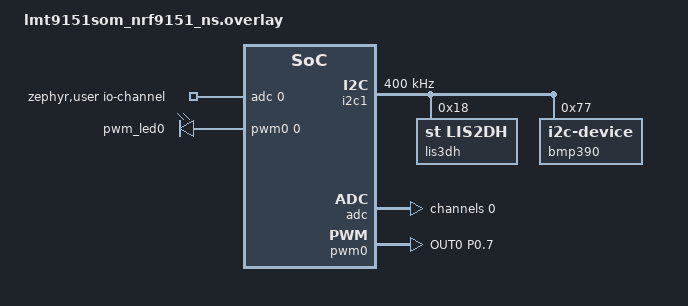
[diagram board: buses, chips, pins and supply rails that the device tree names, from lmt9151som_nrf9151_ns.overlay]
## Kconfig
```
#
# Copyright (c) 2020 Nordic Semiconductor ASA
#
# SPDX-License-Identifier: LicenseRef-Nordic-5-Clause
#

config THREAD_STACK_SIZE_512
    int "Thread stack size"
    default 512

config THREAD_STACK_SIZE_1024
    int "Thread stack size"
    default 1024

config THREAD_STACK_SIZE_2048
    int "Thread stack size"
    default 2048

config THREAD_STACK_SIZE_4096
    int "Thread stack size"
    default 4096

menu "Zephyr Kernel"
source "Kconfig.zephyr"
endmenu
```

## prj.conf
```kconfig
#
# Project configuration for Zephyr RTOS firmware
#
# This file lists all the features and settings enabled in the firmware.
# Each CONFIG_ option turns on or customizes a specific feature (such as sensors, power management, or communication).
# Lines starting with # are comments and are ignored by the build system.
#
# For example:
#   CONFIG_ADC=y      # Enable analog-to-digital converter (for reading analog sensors)
#   CONFIG_PWM=y      # Enable pulse-width modulation (for controlling outputs like LEDs)
#
# You can change these options to enable or disable features as needed.
#

# Enable SDK
CONFIG_LMTSDK=y

# General config
CONFIG_MAIN_STACK_SIZE=2048

## Power management
CONFIG_PM_DEVICE=y

# WDT
CONFIG_WATCHDOG=y
CONFIG_WDT_DISABLE_AT_BOOT=y

# Firmware version string
CONFIG_MCUBOOT_IMGTOOL_SIGN_VERSION="0.1.0"

CONFIG_ADC=y

CONFIG_PWM=y
CONFIG_LED=y
CONFIG_LED_PWM=y
CONFIG_I2C=y
# Enable Zephyr sensor API
CONFIG_SENSOR=y
# LIS3DH and LIS2DH use the same driver
CONFIG_LIS2DH=y
# Enable setting output data rate and set it to 1344Hz (normal mode)
CONFIG_LIS2DH_ODR_9_NORMAL=y
# Enable setting full scale to ±16g
CONFIG_LIS2DH_ACCEL_RANGE_16G=y
```

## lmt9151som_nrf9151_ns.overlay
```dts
&i2c1 {
	status = "okay";
	clock-frequency = <I2C_BITRATE_FAST>;

	lis3dh: lis3dh@18 {
		status = "okay";
		compatible = "st,lis2dh";
		reg = <0x18>;
	};

	bmp390: bmp390@77 {
	compatible = "i2c-device";
	status = "okay";
	reg = <0x77>;
	};
};


// Define ADC io channels
/ {
	zephyr,user {
		io-channels = <&adc 0>;
	};
	
	aliases {
		pwm-led0 = &pwm_led0;
	};
	
	pwmleds {
		compatible = "pwm-leds";
		pwm_led0: pwm_led_0 {
			pwms = <&pwm0 0 PWM_MSEC(20) PWM_POLARITY_NORMAL>;
		};
	};
};

&adc {
	#address-cells = <1>;
	#size-cells = <0>;
    status = "okay";
	channel@0 {
		reg = <0>;
		zephyr,gain = "ADC_GAIN_1_6";
		zephyr,reference = "ADC_REF_INTERNAL";
		zephyr,acquisition-time = <ADC_ACQ_TIME_DEFAULT>;
		zephyr,input-positive = <NRF_SAADC_AIN0>; /* P0.13 */
		zephyr,resolution = <12>; //0-4095
	};
};

&pwm0 {
	status = "okay";
	pinctrl-0 = <&pwm0_default>;
	pinctrl-names = "default";
    pinctrl-1 = <&pwm0_sleep>;
	pinctrl-names = "default", "sleep";
};

&pinctrl {
	pwm0_default: pwm0_default {
		group1 {
			psels = <NRF_PSEL(PWM_OUT0, 0, 7)>;
		};
	};
	pwm0_sleep: pwm0_sleep {
		group1 {
			psels = <NRF_PSEL(PWM_OUT0, 0, 7)>;
			low-power-enable;
		};
	};
};
```

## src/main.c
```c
/**
 * @file main.c
 * @brief Main application file for LMT SDK sample
 *
 * This file contains the main logic for reading sensor data and sending data to a server.
 *
 * Key steps and calculations are explained in comments.
 */

#include "adc_pwm.h"         // For reading potentiometer and controlling PWM
#include "app_status_bits.h" // For tracking system startup status
#include "bmp.h"             // For reading pressure and temperature from BMP390 sensor
#include "lis3dh.h"          // For reading acceleration from LIS3DH sensor
#include "lmt_sdk_app.h"     // Main application header (includes core SDK and command handler)

// Thread priorities: lower number = higher priority
#define PRIORITY_LIS3DH  1 // High priority for accelerometer task
#define PRIORITY_ADC_PWM 6 // Lower priority for ADC/PWM task

// Indices for storing sensor data in the Data array
#define BRIGHTNESS_INDEX   0 // Potentiometer (knob) position
#define TEMPERATURE_INDEX  1 // Temperature from BMP390
#define PRESSURE_INDEX     2 // Pressure from BMP390
#define ACCELARATION_INDEX 3 // Maximum acceleration from LIS3DH

#define DATA_READ_PERIOD 300 // Data read period in seconds (5 minutes)

// Define stack memory for the threads (required by Zephyr)
K_THREAD_STACK_DEFINE(lis3dh_stack_area, 1024);  // Stack for LIS3DH thread
K_THREAD_STACK_DEFINE(adc_pwm_stack_area, 1024); // Stack for ADC/PWM thread

// Thread data structures (used to manage threads)
static struct k_thread lis3dh_thread_data;
static struct k_thread adc_pwm_thread_data;

/**
 * @brief Application setup/init code
 *
 * This function sets up the system, initializes BMP390 sensor, and starts background tasks
 * (threads). It also sets a status bit to indicate the main application started successfully.
 */
void appInit(void)
{
    int err = 0;

    // Set the boot OK mask: when all required modules are initialized,
    // the system will generate an EVENT_DEVICE_INIT_OK event.
    setUserBootOkMask(APP_BOOT_OK);

    // Initialize the BMP390 sensor (for pressure and temperature)
    err = bmp390Init();
    if(err)
    {
        logError("BMP390 init failed, err: %d", err);
        return;
    }

    // Start the LIS3DH accelerometer task in its own thread
    k_thread_create(&lis3dh_thread_data, lis3dh_stack_area,
                    K_THREAD_STACK_SIZEOF(lis3dh_stack_area), lis3dhTask, NULL, NULL, NULL,
                    PRIORITY_LIS3DH, 0, K_NO_WAIT);

    // Start the ADC/PWM task in its own thread
    k_thread_create(&adc_pwm_thread_data, adc_pwm_stack_area,
                    K_THREAD_STACK_SIZEOF(adc_pwm_stack_area), adcPwmTask, NULL, NULL, NULL,
                    PRIORITY_ADC_PWM, 0, K_NO_WAIT);

    // Indicate that the main application has started successfully
    setBootOkBit(MAIN_BOOT_OK_BIT);
}

/**
 * @brief Event callback functions
 *
 * The SDK uses an event-driven architecture where each SOM event has a corresponding callback
 * function. Users implement only the callbacks they need to handle specific events.
 *
 * Event naming pattern: EVENT_DEVICE_INIT_OK -> onDeviceInitOk (remove "EVENT_" prefix, camelCase)
 * Full list of available events is in `lmt_som_event_emitter.h`.
 *
 * To handle an event, simply implement its callback function with the signature:
 *   void onEventName(void *p_data, int i_data)
 *
 * Unimplemented callbacks are ignored by the SDK.
 */
void onDeviceInitOk(void *p_data, int i_data)
{
    logInfo("All system parts initialized successfully");
}

void onTerminalCmd(void *p_data, int i_data)
{
    // Perform the requested command and send the result
    sendEventCmdRes(runTerminalCmd(p_data, i_data));
}

/**
 * @brief Read sensor data and record it for transmission.
 *
 * This function reads all sensor values (potentiometer, temperature, pressure, acceleration),
 * stores them in an array, and prepares them for sending to the server.
 *
 * The data is packed and added to a buffer ("tape"). When the buffer is full, the data is sent or
 * when uplink timeout occurs.
 */
void readAndRecordData(void)
{
    int error                      = 0;
    int32_t Data[MAX_TRACKS_COUNT] = {0}; // Array to hold all sensor data
    uint32_t pressure              = 0;
    int32_t temperature            = 0;
    float accelaration_max         = 0;
    unsigned brightness            = 0;

    // Read temperature and pressure from BMP390 sensor. Temperature is in °C x 100, pressure in Pa.
    error = bmp390ReadPressureAndTemperature(&pressure, &temperature);
    if(error)
    {
        logError("BMP390 read failed, err: %d", error);
    }

    // Read maximum acceleration from LIS3DH sensor
    readLis3dhMax(&accelaration_max);
    // Read potentiometer (knob) position as a percentage
    readPotPosition(&brightness);

    // Print all read values
    logInfoFormatted("Pot: %d%%, Temp: %d.%02d C, Pressure: %d Pa, Accel max: %.2f m/s^2",
                     brightness, temperature / 100, temperature % 100, pressure, accelaration_max);

    // Store sensor data in the Data array
    Data[BRIGHTNESS_INDEX]  = brightness;  // Potentiometer position (0-100%)
    Data[TEMPERATURE_INDEX] = temperature; // Temperature (°C x 100)
    Data[PRESSURE_INDEX]    = pressure;    // Pressure (Pa)
    // Multiply acceleration by 100 to keep two decimal places
    Data[ACCELARATION_INDEX] = (int32_t)(accelaration_max * 100); // Acceleration (m/s^2 x 100)

    // Add the data to the tape (buffer for sending)
    error = addColumnToTape(I_TAPE, DATA_READ_PERIOD, Data);
    if(error == 0)
    {
        // If the buffer is full, trigger data packing (prepares data for sending)
        triggerDataPacking(false); // No radio data
    }
    else if(error < 0)
    {
        logError("Could not add measurement to tape", error);
        return;
    }
}

/**
 * @brief Main application entry point
 *
 * This is where the program starts running. It initializes the SDK and user application,
 * then enters a loop to periodically read sensor data and record it for transmission.
 *
 * The loop waits for a fixed period (DATA_READ_PERIOD), reads all sensor data, and repeats.
 *
 * @return Returns error code (should never return in normal operation)
 */
int main(void)
{
    int64_t start_tick = 0;
    int64_t end_tick   = 0;

    // Set uplink period in minutes(how often data is sent to server)
    setUplinkTimeout(5);
    // Initialize the LMT SDK (sets up core system functions)
    lmtInit();
    // Initialize the user application (sensors, threads, etc.)
    appInit();

    // Main loop: read and record data every DATA_READ_PERIOD seconds
    while(1)
    {
        // Wait for the next data read period (adjusted for time spent processing)
        k_sleep(K_SECONDS(DATA_READ_PERIOD - (end_tick - start_tick) / 1000));

        start_tick = k_uptime_get();
        readAndRecordData();
        end_tick = k_uptime_get();
    }

    return 0;
}
```

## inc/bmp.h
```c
/**
 * @file bmp.h
 * @brief Interface for BMP390 pressure and temperature sensor
 *
 * This header provides functions to initialize the BMP390 sensor and read accurate atmospheric
 * pressure and temperature values.
 *
 * All pressure values are in Pascals (Pa). All temperature values are in hundredths of degrees
 * Celsius (°C × 100).
 *
 * "Calibration data" refers to factory-set values stored in the sensor, used to correct
 * ("compensate") the raw readings for accuracy.
 */

#ifndef BMP_H
#define BMP_H

#include <stdint.h>

/**
 * @brief Initialize the BMP390 sensor for use.
 *
 * This function wakes up the sensor, resets it, checks its identity, sets up oversampling and data
 * rate, reads calibration data, and enables normal measurement mode.
 *
 * The calibration data is essential for converting raw sensor values into real-world units.
 *
 * @return 0 if successful, negative error code if there was a problem
 */
int bmp390Init(void);

/**
 * @brief Read the current atmospheric pressure and temperature from the BMP390 sensor.
 *
 * This function reads the sensor, applies calibration to correct the values, and returns the
 * results.
 *
 * @param pressure_pa Pointer to variable where pressure (in Pascals) will be stored
 * @param temperature Pointer to variable where temperature (in °C × 100) will be stored
 * @return 0 if successful, negative error code if there was a problem
 */
int bmp390ReadPressureAndTemperature(uint32_t *pressure_pa, int32_t *temperature);

#endif // BMP_H
```

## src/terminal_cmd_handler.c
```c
/*
 * terminal_cmd_handler.c
 *
 * This file implements a simple command handler for terminal/serial commands.
 *
 * Currently, the handler is designed to process single-character commands (e.g., 'E' for erase, 'R'
 * for reboot). The implementation can be easily extended to support multi-character or more complex
 * commands in the future.
 */

#include "terminal_cmd_handler.h"
#include "lmt_coap_manager.h"
#include "lmt_storage_manager.h"
#include <errno.h>
#include <string.h>
#include <zephyr/sys/reboot.h>

// List of supported commands
#define CMD_ERASE_FLASH 'E'
#define CMD_REBOOT      'R'

#define PRE_REBOOT_DELAY K_SECONDS(2)

/**
 * @brief Handle a terminal/serial command.
 *
 * This function processes a command received as a byte array. Currently, only the first character
 * is used. Supported commands:
 *   - 'E': Erase flash (delete log files)
 *   - 'R': Reboot the system
 *
 * The handler can be easily extended to support more or multi-character commands in the future.
 *
 * @param cmd Pointer to the command data (array of bytes)
 * @param cmd_len Number of bytes in the command
 * @return 0 on success, negative error code on failure or unsupported command
 */
int runTerminalCmd(uint8_t *cmd, uint8_t cmd_len)
{
    int error = 0;

    // Check for valid input
    if(cmd == NULL || cmd_len == 0)
    {
        return -EINVAL; // Invalid argument
    }

    // Only the first character of the command is used
    switch(*cmd)
    {
        case CMD_ERASE_FLASH:
            // Erase flash memory (e.g., delete log files)
            error = eraseFlash();
            if(error)
            {
                return error; // Return error code if erase fails
            }
            break;

        case CMD_REBOOT:
            // Shut down modem, log a warning, wait, then reboot the system
            modemShutdown();
            logWarning("Rebooting system...");
            k_sleep(PRE_REBOOT_DELAY);   // Wait before rebooting
            sys_reboot(SYS_REBOOT_COLD); // Perform a cold reboot
            break;

        default:
            // Command not supported
            return -ENOTSUP;
    }

    // Command handled successfully
    return 0;
}
```
